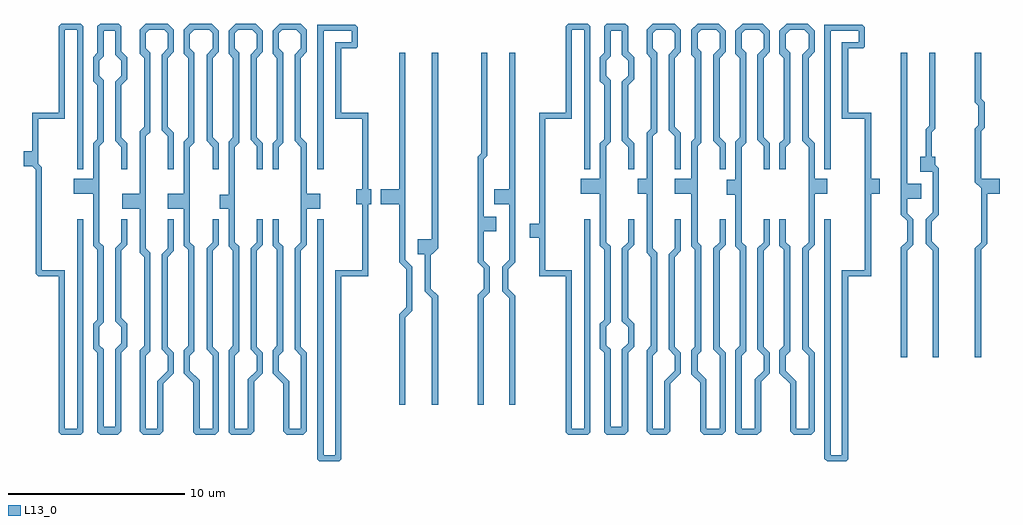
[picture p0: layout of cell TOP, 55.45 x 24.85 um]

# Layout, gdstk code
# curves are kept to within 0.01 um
import gdstk
lib = gdstk.Library(unit=1e-6, precision=1e-09)
def P(c, l, *ps):  # polygons
    for p in ps: c.add(gdstk.Polygon(p, *l))
L13_0 = (13, 0)

top = lib.new_cell('TOP')
P(top, L13_0, [(93.15,-2.3),(92.6,-2.3),(92.6,-3.1),(93.15,-3.1),(93.15,-5.3),(94.65,-5.3),(94.65,-14.15),(94.8,-14.3),(95.9,-14.3),(96.05,-14.15),(96.05,-2.05),(95.7,-2.05),(95.7,-13.95),(95,-13.95),(95,-4.95),(93.5,-4.95),(93.5,3.65),(95,3.65),(95,8.7),(95.7,8.7),(95.7,0.8),(96.05,0.8),(96.05,8.9),(95.9,9.05),(94.8,9.05),(94.65,8.9),(94.65,4),(93.15,4)],
  [(115.45,1.5),(115.45,2.9),(115.65,3.1),(115.65,7.4),(115.3,7.4),(115.3,3.25),(115.1,3.05),(115.1,1.5),(114.8,1.5),(114.8,0.65),(115.5,0.65),(115.5,-1.65),(115.1,-2.05),(115.1,-3.45),(115.5,-3.85),(115.5,-9.9),(115.85,-9.9),(115.85,-3.7),(115.45,-3.3),(115.45,-2.2),(115.85,-1.8),(115.85,0.85),(115.65,1.05),(115.65,1.5)],
  [(83.45,-1.2),(83.6,-1.2),(83.6,-0.35),(83.45,-0.35),(83.45,4),(81.9,4),(81.9,7.65),(82.75,7.65),(82.85,7.75),(82.85,8.85),(82.7,9),(80.55,9),(80.55,0.8),(80.9,0.8),(80.9,8.65),(82.5,8.65),(82.5,8),(81.55,8),(81.55,3.65),(83.1,3.65),(83.1,-0.35),(82.75,-0.35),(82.75,-1.2),(83.1,-1.2),(83.1,-4.95),(81.55,-4.95),(81.55,-15.45),(80.9,-15.45),(80.9,-2.05),(80.55,-2.05),(80.55,-15.7),(80.65,-15.8),(81.8,-15.8),(81.9,-15.7),(81.9,-5.3),(83.45,-5.3)],
  [(91.45,-1.2),(91.45,-4.35),(91.05,-4.75),(91.05,-6.15),(91.45,-6.55),(91.45,-12.6),(91.8,-12.6),(91.8,-6.4),(91.4,-6),(91.4,-4.9),(91.8,-4.5),(91.8,7.4),(91.45,7.4),(91.45,-0.35),(90.6,-0.35),(90.6,-1.2)],
  [(98.75,-0.6),(99.25,-0.6),(99.25,-3.95),(99.5,-4.2),(99.5,-9.25),(99.25,-9.5),(99.25,-14.1),(99.45,-14.3),(100.4,-14.3),(100.6,-14.1),(100.6,-11.4),(101.2,-10.8),(101.2,-9.65),(100.85,-9.3),(100.85,-4.2),(101.2,-3.85),(101.2,-2.05),(100.85,-2.05),(100.85,-3.7),(100.5,-4.05),(100.5,-9.45),(100.85,-9.8),(100.85,-10.65),(100.25,-11.25),(100.25,-13.95),(99.6,-13.95),(99.6,-9.8),(99.85,-9.55),(99.85,-3.95),(99.6,-3.7),(99.6,2.65),(99.85,2.9),(99.85,7.4),(99.6,7.65),(99.6,8.5),(99.8,8.7),(100.65,8.7),(100.85,8.5),(100.85,7.65),(100.5,7.3),(100.5,3),(100.85,2.65),(100.85,0.8),(101.2,0.8),(101.2,2.85),(100.85,3.2),(100.85,7.1),(101.2,7.45),(101.2,8.7),(100.85,9.05),(99.6,9.05),(99.25,8.7),(99.25,7.35),(99.5,7.1),(99.5,3.1),(99.25,2.85),(99.25,0.25),(98.75,0.25)],
  [(90,-2.75),(90,-4.4),(90.35,-4.75),(90.35,-6.2),(90,-6.55),(90,-12.6),(89.65,-12.6),(89.65,-6.35),(90,-6),(90,-4.85),(89.65,-4.5),(89.65,1.5),(89.85,1.7),(89.85,7.4),(90.2,7.4),(90.2,1.55),(90,1.35),(90,-1.9),(90.7,-1.9),(90.7,-2.75)],
  [(69.45,-1.45),(70.45,-1.45),(70.45,-3.95),(70.7,-4.2),(70.7,-9.25),(70.45,-9.5),(70.45,-14.1),(70.65,-14.3),(71.6,-14.3),(71.8,-14.1),(71.8,-11.4),(72.4,-10.8),(72.4,-9.65),(72.05,-9.3),(72.05,-4.2),(72.4,-3.85),(72.4,-2.05),(72.05,-2.05),(72.05,-3.7),(71.7,-4.05),(71.7,-9.45),(72.05,-9.8),(72.05,-10.65),(71.45,-11.25),(71.45,-13.95),(70.8,-13.95),(70.8,-9.8),(71.05,-9.55),(71.05,-3.95),(70.8,-3.7),(70.8,2.65),(71.05,2.9),(71.05,7.4),(70.8,7.65),(70.8,8.5),(71,8.7),(71.85,8.7),(72.05,8.5),(72.05,7.65),(71.7,7.3),(71.7,3),(72.05,2.65),(72.05,0.8),(72.4,0.8),(72.4,2.85),(72.05,3.2),(72.05,7.1),(72.4,7.45),(72.4,8.7),(72.05,9.05),(70.8,9.05),(70.45,8.7),(70.45,7.35),(70.7,7.1),(70.7,3.2),(70.45,2.95),(70.45,-0.6),(69.45,-0.6)],
  [(96.6,-0.6),(96.6,-3.55),(96.85,-3.8),(96.85,-7.75),(96.6,-8),(96.6,-9.4),(96.85,-9.65),(96.85,-14.15),(97,-14.3),(98,-14.3),(98.2,-14.1),(98.2,-9.65),(98.55,-9.3),(98.55,-8),(98.2,-7.65),(98.2,-3.85),(98.55,-3.5),(98.55,-2.05),(98.2,-2.05),(98.2,-3.35),(97.85,-3.7),(97.85,-7.85),(98.2,-8.2),(98.2,-9.1),(97.85,-9.45),(97.85,-13.85),(97.2,-13.85),(97.2,-9.45),(96.95,-9.2),(96.95,-8.15),(97.2,-7.9),(97.2,-3.6),(96.95,-3.35),(96.95,2.1),(97.2,2.35),(97.2,5.85),(96.95,6.1),(96.95,6.95),(97.2,7.2),(97.2,8.65),(97.85,8.65),(97.85,7.3),(98.2,6.95),(98.2,6.1),(97.85,5.75),(97.85,2.4),(98.2,2.05),(98.2,0.8),(98.55,0.8),(98.55,2.25),(98.2,2.6),(98.2,5.55),(98.55,5.9),(98.55,7.15),(98.2,7.5),(98.2,8.9),(98.05,9.05),(97,9.05),(96.85,8.9),(96.85,7.4),(96.6,7.15),(96.6,5.8),(96.85,5.55),(96.85,2.5),(96.6,2.25),(96.6,0.25),(95.5,0.25),(95.5,-0.6)],
  [(87.1,-4),(87.4,-3.7),(87.4,7.4),(87.05,7.4),(87.05,-3.2),(86.25,-3.2),(86.25,-4.05),(86.65,-4.05),(86.65,-6.15),(87.05,-6.55),(87.05,-12.6),(87.4,-12.6),(87.4,-6.4),(87,-6),(87,-4.1)],
  [(84.15,-1.2),(85.2,-1.2),(85.2,-4.5),(85.6,-4.9),(85.6,-7.05),(85.2,-7.45),(85.2,-12.6),(85.55,-12.6),(85.55,-7.65),(85.95,-7.25),(85.95,-4.75),(85.55,-4.35),(85.55,7.4),(85.2,7.4),(85.2,-0.35),(84.15,-0.35)],
  [(114.05,-0.9),(114.05,-1.7),(114.4,-2.05),(114.4,-3.5),(114.05,-3.85),(114.05,-9.9),(113.7,-9.9),(113.7,-3.65),(114.05,-3.3),(114.05,-2.15),(113.7,-1.8),(113.7,7.4),(114.05,7.4),(114.05,-0.05),(114.85,-0.05),(114.85,-0.9)],
  [(67.8,-0.6),(67.8,-3.55),(68.05,-3.8),(68.05,-7.75),(67.8,-8),(67.8,-9.4),(68.05,-9.65),(68.05,-14.15),(68.2,-14.3),(69.2,-14.3),(69.4,-14.1),(69.4,-9.65),(69.75,-9.3),(69.75,-8),(69.4,-7.65),(69.4,-3.85),(69.75,-3.5),(69.75,-2.05),(69.4,-2.05),(69.4,-3.35),(69.05,-3.7),(69.05,-7.85),(69.4,-8.2),(69.4,-9.1),(69.05,-9.45),(69.05,-13.85),(68.4,-13.85),(68.4,-9.45),(68.15,-9.2),(68.15,-8.15),(68.4,-7.9),(68.4,-3.6),(68.15,-3.35),(68.15,2.1),(68.4,2.35),(68.4,5.85),(68.15,6.1),(68.15,6.95),(68.4,7.2),(68.4,8.65),(69.05,8.65),(69.05,7.3),(69.4,6.95),(69.4,6.1),(69.05,5.75),(69.05,2.4),(69.4,2.05),(69.4,0.8),(69.75,0.8),(69.75,2.25),(69.4,2.6),(69.4,5.55),(69.75,5.9),(69.75,7.15),(69.4,7.5),(69.4,8.9),(69.25,9.05),(68.2,9.05),(68.05,8.9),(68.05,7.4),(67.8,7.15),(67.8,5.8),(68.05,5.55),(68.05,2.5),(67.8,2.25),(67.8,0.25),(66.7,0.25),(66.7,-0.6)],
  [(64.7,1.1),(64.7,3.65),(66.2,3.65),(66.2,8.7),(66.9,8.7),(66.9,0.8),(67.25,0.8),(67.25,8.9),(67.1,9.05),(66,9.05),(65.85,8.9),(65.85,4),(64.35,4),(64.35,1.8),(63.85,1.8),(63.85,0.95),(64.35,0.95),(64.55,0.75),(64.55,-5.15),(64.7,-5.3),(65.85,-5.3),(65.85,-14.15),(66,-14.3),(67.1,-14.3),(67.25,-14.15),(67.25,-2.05),(66.9,-2.05),(66.9,-13.95),(66.2,-13.95),(66.2,-4.95),(64.9,-4.95),(64.9,0.9)],
  [(100.85,-0.6),(101.8,-0.6),(101.8,-3.6),(102,-3.8),(102,-9.3),(101.8,-9.5),(101.8,-10.85),(102.3,-11.35),(102.3,-14.1),(102.5,-14.3),(103.55,-14.3),(103.75,-14.1),(103.75,-9.65),(103.4,-9.3),(103.4,-3.85),(103.75,-3.5),(103.75,-2.05),(103.4,-2.05),(103.4,-3.35),(103.05,-3.7),(103.05,-9.45),(103.4,-9.8),(103.4,-13.95),(102.65,-13.95),(102.65,-11.15),(102.15,-10.65),(102.15,-9.75),(102.35,-9.55),(102.35,-3.55),(102.15,-3.35),(102.15,2.1),(102.35,2.3),(102.35,7.45),(102.15,7.65),(102.15,8.5),(102.35,8.7),(103.2,8.7),(103.4,8.5),(103.4,7.65),(103.05,7.3),(103.05,2.4),(103.4,2.05),(103.4,0.8),(103.75,0.8),(103.75,2.25),(103.4,2.6),(103.4,7.1),(103.75,7.45),(103.75,8.65),(103.35,9.05),(102.15,9.05),(101.8,8.7),(101.8,7.3),(102,7.1),(102,2.55),(101.8,2.35),(101.8,0.25),(100.85,0.25)],
  [(119.3,0.25),(118.25,0.25),(118.25,2.95),(118.45,3.15),(118.45,4.6),(118.25,4.8),(118.25,7.4),(117.9,7.4),(117.9,4.6),(118.1,4.4),(118.1,3.3),(117.9,3.1),(117.9,0.05),(118.25,-0.3),(118.25,-3.35),(117.9,-3.7),(117.9,-9.9),(118.25,-9.9),(118.25,-3.8),(118.6,-3.45),(118.6,-0.6),(119.3,-0.6)],
  [(79.95,-1.45),(80.7,-1.45),(80.7,-0.6),(79.95,-0.6),(79.95,2.25),(79.6,2.6),(79.6,7.1),(79.95,7.45),(79.95,8.7),(79.6,9.05),(78.4,9.05),(78,8.65),(78,7.35),(78.25,7.1),(78.25,2.5),(78,2.25),(78,0.8),(78.35,0.8),(78.35,2.05),(78.6,2.3),(78.6,7.4),(78.35,7.65),(78.35,8.5),(78.55,8.7),(79.35,8.7),(79.6,8.45),(79.6,7.65),(79.25,7.3),(79.25,2.4),(79.6,2.05),(79.6,-3.35),(79.25,-3.7),(79.25,-9.45),(79.6,-9.8),(79.6,-13.95),(78.95,-13.95),(78.95,-11.25),(78.35,-10.65),(78.35,-9.8),(78.6,-9.55),(78.6,-3.6),(78.35,-3.35),(78.35,-2.05),(78,-2.05),(78,-3.55),(78.25,-3.8),(78.25,-9.25),(78,-9.5),(78,-10.8),(78.6,-11.4),(78.6,-14.1),(78.8,-14.3),(79.75,-14.3),(79.95,-14.1),(79.95,-9.65),(79.6,-9.3),(79.6,-3.85),(79.95,-3.5)],
  [(72.05,-0.6),(72.05,-1.45),(72.95,-1.45),(72.95,-3.55),(73.2,-3.8),(73.2,-9.25),(72.95,-9.5),(72.95,-10.8),(73.5,-11.35),(73.5,-14.15),(73.65,-14.3),(74.75,-14.3),(74.95,-14.1),(74.95,-9.65),(74.6,-9.3),(74.6,-3.85),(74.95,-3.5),(74.95,-2.05),(74.6,-2.05),(74.6,-3.35),(74.25,-3.7),(74.25,-9.45),(74.6,-9.8),(74.6,-13.95),(73.85,-13.95),(73.85,-11.2),(73.3,-10.65),(73.3,-9.8),(73.55,-9.55),(73.55,-3.6),(73.3,-3.35),(73.3,2.05),(73.55,2.3),(73.55,7.4),(73.3,7.65),(73.3,8.45),(73.55,8.7),(74.4,8.7),(74.6,8.5),(74.6,7.65),(74.25,7.3),(74.25,2.4),(74.6,2.05),(74.6,0.8),(74.95,0.8),(74.95,2.25),(74.6,2.6),(74.6,7.1),(74.95,7.45),(74.95,8.65),(74.55,9.05),(73.3,9.05),(72.95,8.7),(72.95,7.35),(73.2,7.1),(73.2,2.6),(72.95,2.35),(72.95,-0.6)],
  [(108.8,-0.6),(109.5,-0.6),(109.5,0.25),(108.8,0.25),(108.8,2.25),(108.45,2.6),(108.45,7.1),(108.8,7.45),(108.8,8.65),(108.4,9.05),(107.2,9.05),(106.8,8.65),(106.8,7.35),(107.05,7.1),(107.05,2.5),(106.8,2.25),(106.8,0.8),(107.15,0.8),(107.15,2.05),(107.4,2.3),(107.4,7.4),(107.15,7.65),(107.15,8.45),(107.4,8.7),(108.2,8.7),(108.45,8.45),(108.45,7.65),(108.1,7.3),(108.1,2.4),(108.45,2.05),(108.45,-3.35),(108.1,-3.7),(108.1,-9.45),(108.45,-9.8),(108.45,-13.95),(107.75,-13.95),(107.75,-11.25),(107.15,-10.65),(107.15,-9.8),(107.4,-9.55),(107.4,-3.6),(107.15,-3.35),(107.15,-2.05),(106.8,-2.05),(106.8,-3.55),(107.05,-3.8),(107.05,-9.25),(106.8,-9.5),(106.8,-10.8),(107.4,-11.4),(107.4,-14.1),(107.6,-14.3),(108.6,-14.3),(108.8,-14.1),(108.8,-9.65),(108.45,-9.3),(108.45,-3.85),(108.8,-3.5)],
  [(112.5,0.25),(112,0.25),(112,4),(110.7,4),(110.7,7.65),(111.55,7.65),(111.65,7.75),(111.65,8.85),(111.5,9),(109.35,9),(109.35,0.8),(109.7,0.8),(109.7,8.65),(111.3,8.65),(111.3,8),(110.35,8),(110.35,3.65),(111.65,3.65),(111.65,-4.95),(110.35,-4.95),(110.35,-15.45),(109.7,-15.45),(109.7,-2.05),(109.35,-2.05),(109.35,-15.65),(109.5,-15.8),(110.6,-15.8),(110.7,-15.7),(110.7,-5.3),(112,-5.3),(112,-0.6),(112.5,-0.6)],
  [(75,-1.45),(75.5,-1.45),(75.5,-3.6),(75.75,-3.85),(75.75,-9.25),(75.5,-9.5),(75.5,-14.15),(75.65,-14.3),(76.75,-14.3),(76.95,-14.1),(76.95,-11.3),(77.45,-10.8),(77.45,-9.65),(77.1,-9.3),(77.1,-3.85),(77.45,-3.5),(77.45,-2.05),(77.1,-2.05),(77.1,-3.35),(76.75,-3.7),(76.75,-9.45),(77.1,-9.8),(77.1,-10.65),(76.6,-11.15),(76.6,-13.95),(75.85,-13.95),(75.85,-9.8),(76.1,-9.55),(76.1,-3.6),(75.85,-3.35),(75.85,2.05),(76.1,2.3),(76.1,7.4),(75.85,7.65),(75.85,8.5),(76.05,8.7),(76.85,8.7),(77.1,8.45),(77.1,7.65),(76.75,7.3),(76.75,2.45),(77.1,2.1),(77.1,0.8),(77.45,0.8),(77.45,2.25),(77.1,2.6),(77.1,7.1),(77.45,7.45),(77.45,8.65),(77.05,9.05),(75.9,9.05),(75.5,8.65),(75.5,7.35),(75.75,7.1),(75.75,2.6),(75.5,2.35),(75.5,-0.65),(75,-0.65)],
  [(104.65,2.05),(104.9,2.3),(104.9,7.4),(104.65,7.65),(104.65,8.5),(104.85,8.7),(105.65,8.7),(105.9,8.45),(105.9,7.65),(105.55,7.3),(105.55,2.45),(105.9,2.1),(105.9,0.8),(106.25,0.8),(106.25,2.25),(105.9,2.6),(105.9,7.1),(106.25,7.45),(106.25,8.65),(105.85,9.05),(104.7,9.05),(104.3,8.65),(104.3,7.35),(104.55,7.1),(104.55,2.6),(104.3,2.35),(104.3,0.2),(103.8,0.2),(103.8,-0.65),(104.3,-0.65),(104.3,-3.6),(104.55,-3.85),(104.55,-9.25),(104.3,-9.5),(104.3,-14.15),(104.45,-14.3),(105.55,-14.3),(105.75,-14.1),(105.75,-11.3),(106.25,-10.8),(106.25,-9.65),(105.9,-9.3),(105.9,-3.85),(106.25,-3.5),(106.25,-2.05),(105.9,-2.05),(105.9,-3.35),(105.55,-3.7),(105.55,-9.45),(105.9,-9.8),(105.9,-10.65),(105.4,-11.15),(105.4,-13.95),(104.65,-13.95),(104.65,-9.8),(104.9,-9.55),(104.9,-3.6),(104.65,-3.35)])

lib.write_gds('TOP.gds')
